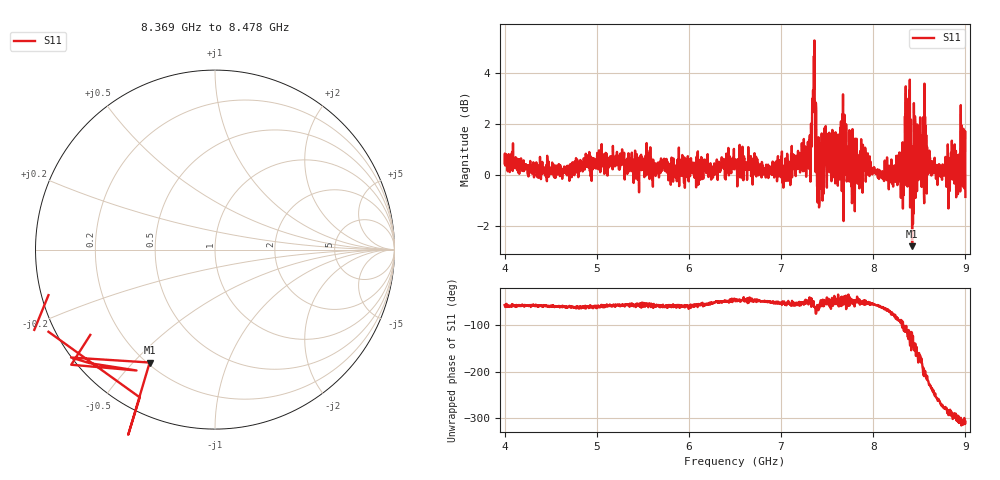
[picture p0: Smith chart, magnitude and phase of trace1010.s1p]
! Created with skrf 1.8.0 (http://scikit-rf.org).
# Hz S RI R 50.0
!freq ReS11 ImS11
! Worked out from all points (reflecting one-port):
!   1601 points, 4 GHz to 9 GHz, reference 50 ohm
!   lowest |S11| = -2.8 dB at 8.422 GHz (marker M1), VSWR 6.32, Z = 10.5 - j27.9 ohm
!   phase of S11 starts at -56 deg and turns -252 deg over the sweep
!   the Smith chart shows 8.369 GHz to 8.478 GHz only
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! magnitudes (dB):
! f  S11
! 4 GHz  0.5
! 4.625 GHz  -0.1
! 5.25 GHz  0.2
! 5.875 GHz  0.6
! 6.5 GHz  0.5
! 7.125 GHz  0.5
! 7.297 GHz  0.7
! 7.356 GHz  4.7
! 7.409 GHz  -0.2
! 7.491 GHz  0.4
! 7.612 GHz  0.0
! 7.669 GHz  1.8
! 7.75 GHz  0.6
! 8.316 GHz  0.2
! 8.334 GHz  0.2
! 8.375 GHz  2.2
! 8.394 GHz  0.2
! 8.412 GHz  0.3
! 8.422 GHz  -2.8
! 8.441 GHz  2.8
! 8.466 GHz  -0.3
! 8.512 GHz  0.7
! 8.553 GHz  -1.1
! 8.606 GHz  0.2
! 8.812 GHz  0.5
! 8.919 GHz  -0.7
! 8.972 GHz  0.5
! 9 GHz  -0.8
